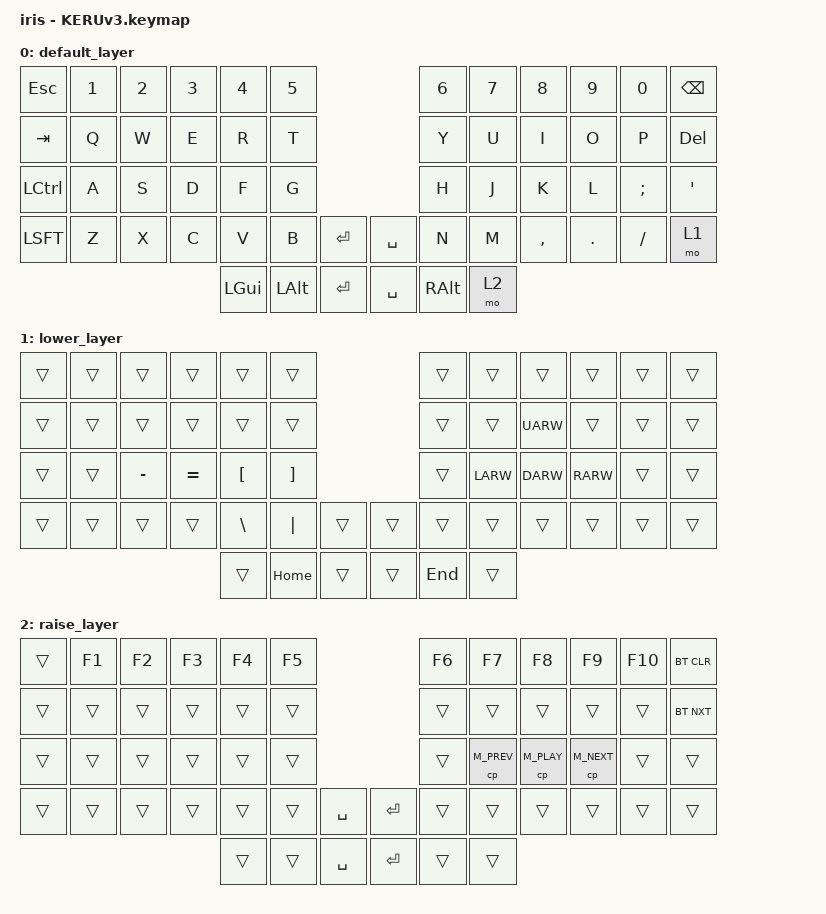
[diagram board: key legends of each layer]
#include <behaviors.dtsi>
#include <dt-bindings/zmk/keys.h>


/ {
	keymap {
		compatible = "zmk,keymap";

		default_layer {
// ------------------------------------------------------------------------------------------------------------
// |  ESC  |  1  |  2  |  3   |  4   |  5   |                   |  6   |  7    |  8    |  9   |   0   |  BKSP |
// |  TAB  |  Q  |  W  |  E   |  R   |  T   |                   |  Y   |  U    |  I    |  O   |   P   |  DEL  |
// |  CTRL |  A  |  S  |  D   |  F   |  G   |                   |  H   |  J    |  K    |  L   |   ;   |   '   |
// | SHIFT |  Z  |  X  |  C   |  V   |  B   |  ENTER |  | SPACE |  N   |  M    |  ,    |  .   |   /   | TOG1  |
//                     		  | GUI  | ALT  |  ENTER |  | SPACE | TOG2 |  ALT  |
			bindings = <
&kp ESC  &kp NUM_1 &kp NUM_2 &kp NUM_3 &kp NUM_4 &kp NUM_5                  &kp NUM_6 &kp NUM_7 &kp NUM_8 &kp NUM_9 &kp NUM_0 &kp BKSP
&kp TAB  &kp Q     &kp W     &kp E     &kp R     &kp T                      &kp Y     &kp U     &kp I     &kp O     &kp P     &kp DEL
&kp LCTL &kp A     &kp S     &kp D     &kp F     &kp G                      &kp H     &kp J     &kp K     &kp L     &kp SCLN  &kp QUOT
&kp LSFT &kp Z     &kp X     &kp C     &kp V     &kp B   &kp RET   &kp SPC  &kp N     &kp M     &kp CMMA  &kp DOT   &kp FSLH  &mo 1
                   			 		   &kp LGUI  &kp LALT &kp RET   &kp SPC  &kp RALT &mo 2
			>;
		};

		lower_layer {
// ------------------------------------------------------------------------------------------------------------
// |       |     |     |      |      |      |                   |      |       |       |       |       |       |
// |       |     |     |      |      |      |                   |      |       |  UP   |       |       |       |
// |       |     |  -  |  =   |  [   |  ]   |                   |      |  LEFT | DOWN  | RIGHT |       |       |
// |       |     |     |      |  \   |  "|" |       |   |       |      |       |       |       |       |       |
//                            |      |      |       |   |       |      |       |
			bindings = <
&trans   &trans    &trans    &trans    &trans     &trans                      &trans    &trans   &trans   &trans    &trans  &trans
&trans   &trans    &trans    &trans    &trans     &trans                      &trans    &trans   &kp UARW &trans    &trans  &trans
&trans   &trans    &kp MINUS &kp EQL   &kp LBKT   &kp RBKT                    &trans    &kp LARW &kp DARW &kp RARW  &trans  &trans
&trans   &trans    &trans    &trans    &kp BSLH   &kp PIPE  &trans   &trans   &trans    &trans   &trans   &trans    &trans  &trans
                   		     		   &trans   &kp HOME    &trans   &trans   &kp END    &trans
			>;
		};

		raise_layer {
// ------------------------------------------------------------------------------------------------------------
// |       |     |     |      |      |      |                   |  F1  |  F2   |  F3   |  F4  |  F5   |       |
// |       |     |     |      |      |      |                   |  F6  |  F7   |  F8   |  F9  |  F10  |       |
// |       |     |     |      |      |      |                   |  F11 |  F12  |  MPRV | MPLY |  MNXT |       |
// |       |     |     |      |      |      | SPACE |   | ENTER |      |       |       |      |       |       |
//                            |      |      | SPACE |   | ENTER |      |       |
			bindings = <
&trans     &kp F1    &kp F2     &kp F3     &kp F4     &kp F5                     &kp F6    &kp F7     &kp F8     &kp F9     &kp F10    &bt BT_CLR
&trans     &trans     &trans     &trans     &trans    &trans                     &trans     &trans    &trans     &trans     &trans      &bt BT_NXT
&trans     &trans     &trans     &trans     &trans    &trans                     &trans     &cp M_PREV &cp M_PLAY &cp M_NEXT &trans	   &trans
&trans     &trans     &trans     &trans     &trans    &trans  &kp SPC  &kp RET   &trans    &trans     &trans     &trans     &trans     &trans
                   		     		        &trans    &trans  &kp SPC  &kp RET   &trans    &trans
			>;
		};
	};
};
